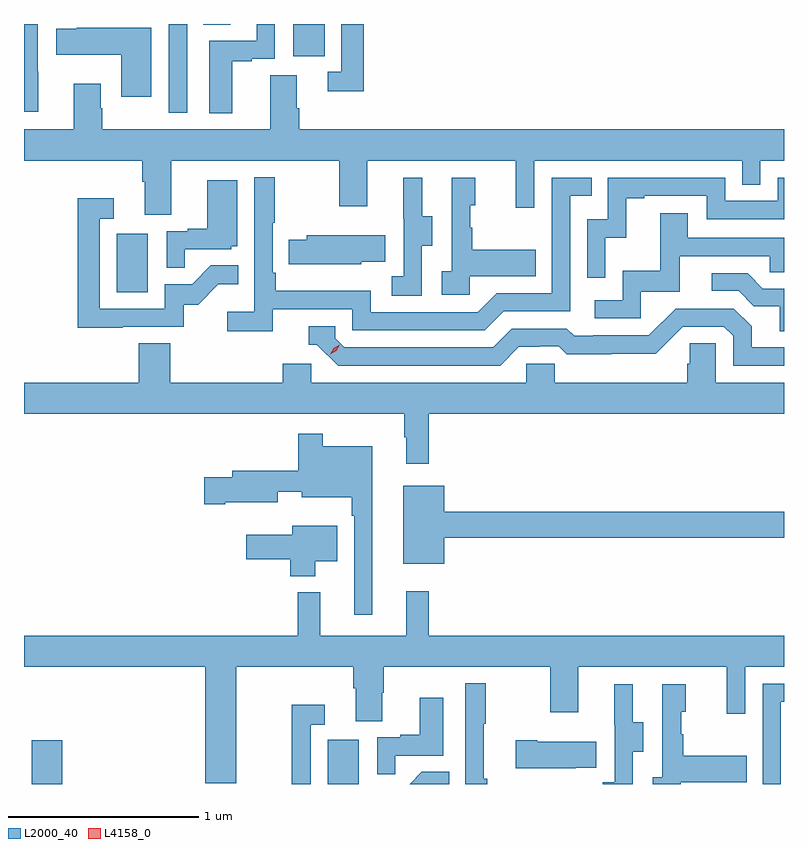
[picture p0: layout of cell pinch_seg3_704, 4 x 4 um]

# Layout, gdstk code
import gdstk
lib = gdstk.Library(unit=1e-6, precision=1e-09)
def R(c, l, rs):  # rectangles x0, y0, x1, y1
    for r in rs: c.add(gdstk.rectangle(r[:2], r[2:], *l))
def P(c, l, *ps):  # polygons
    for p in ps: c.add(gdstk.Polygon(p, *l))
L2000_40 = (2000, 40)
L4158_0 = (4158, 0)

pinch_seg3_704 = lib.new_cell('pinch_seg3_704')
R(pinch_seg3_704, L2000_40, [(1101.49,682.983,1101.65,683.212), (1103.048,682.983,1103.212,683.215), (1101.938,685.572,1102.102,685.879), (1102.212,686.517,1102.308,686.983), (1102.868,686.814,1103.032,686.983)])
P(pinch_seg3_704, L2000_40, [(1102.546,686.787),(1102.649,686.787),(1102.649,686.799),(1102.77,686.799),(1102.77,686.983),(1102.675,686.983),(1102.675,686.895),(1102.424,686.895),(1102.424,686.513),(1102.546,686.513)],
  [(1103.237,686.983),(1103.121,686.983),(1103.121,686.733),(1103.049,686.733),(1103.049,686.628),(1103.237,686.628)],
  [(1102.539,686.983),(1102.393,686.983),(1102.393,686.98),(1102.536,686.98)],
  [(1101.524,686.733),(1101.522,686.733),(1101.522,686.983),(1101.45,686.983),(1101.45,686.52),(1101.524,686.52)],
  [(1102.12,686.962),(1101.727,686.962),(1101.727,686.959),(1101.619,686.959),(1101.619,686.822),(1101.962,686.822),(1101.962,686.601),(1102.12,686.601)],
  [(1102.225,686.264),(1103.11,686.264),(1103.11,686.025),(1103.257,686.025),(1103.257,686.264),(1104.038,686.264),(1104.038,686.016),(1104.135,686.016),(1104.135,686.264),(1105.23,686.264),(1105.23,686.137),(1105.326,686.137),(1105.326,686.264),(1105.45,686.264),(1105.45,686.428),(1102.898,686.428),(1102.898,686.54),(1102.885,686.54),(1102.885,686.714),(1102.745,686.714),(1102.745,686.428),(1101.861,686.428),(1101.861,686.54),(1101.853,686.54),(1101.853,686.668),(1101.713,686.668),(1101.713,686.428),(1101.45,686.428),(1101.45,686.264),(1102.073,686.264),(1102.073,686.152),(1102.085,686.152),(1102.085,685.978),(1102.225,685.978)],
  [(1102.76,685.482),(1103.178,685.482),(1103.178,685.371),(1103.875,685.371),(1103.974,685.47),(1104.324,685.47),(1104.324,686.079),(1104.437,686.079),(1104.437,686.175),(1104.228,686.175),(1104.228,685.566),(1103.937,685.566),(1103.838,685.467),(1103.274,685.467),(1103.274,685.579),(1102.775,685.579),(1102.775,685.675),(1102.758,685.675),(1102.758,685.936),(1102.771,685.936),(1102.771,686.176),(1102.662,686.176),(1102.662,685.468),(1102.521,685.468),(1102.521,685.366),(1102.76,685.366)],
  [(1104.51,685.859),(1104.62,685.859),(1104.62,686.067),(1104.715,686.067),(1104.715,686.079),(1105.044,686.079),(1105.044,685.956),(1105.45,685.956),(1105.45,686.175),(1105.416,686.175),(1105.416,686.052),(1105.14,686.052),(1105.14,686.175),(1104.522,686.175),(1104.522,685.956),(1104.414,685.956),(1104.414,685.647),(1104.51,685.647)],
  [(1103.796,685.655),(1104.143,685.655),(1104.143,685.795),(1103.809,685.795),(1103.809,685.91),(1103.799,685.91),(1103.799,686.028),(1103.824,686.028),(1103.824,686.173),(1103.7,686.173),(1103.7,685.682),(1103.649,685.682),(1103.649,685.557),(1103.796,685.557)],
  [(1103.544,685.816),(1103.599,685.816),(1103.599,685.971),(1103.545,685.971),(1103.545,686.173),(1103.447,686.173),(1103.447,685.959),(1103.448,685.959),(1103.448,685.655),(1103.385,685.655),(1103.385,685.552),(1103.544,685.552)],
  [(1102.295,685.797),(1102.542,685.797),(1102.542,685.812),(1102.573,685.812),(1102.573,686.161),(1102.415,686.161),(1102.415,685.906),(1102.311,685.906),(1102.311,685.893),(1102.2,685.893),(1102.2,685.699),(1102.295,685.699)],
  [(1101.971,685.389),(1102.29,685.389),(1102.29,685.506),(1102.366,685.506),(1102.473,685.613),(1102.577,685.613),(1102.577,685.712),(1102.433,685.712),(1102.335,685.614),(1102.191,685.614),(1102.191,685.485),(1101.849,685.485),(1101.849,685.959),(1101.922,685.959),(1101.922,686.065),(1101.733,686.065),(1101.733,685.384),(1101.971,685.384)],
  [(1104.696,685.575),(1104.901,685.575),(1104.901,685.761),(1105.375,685.761),(1105.375,685.677),(1105.45,685.677),(1105.45,685.857),(1104.943,685.857),(1104.943,685.987),(1104.799,685.987),(1104.799,685.684),(1104.6,685.684),(1104.6,685.53),(1104.453,685.53),(1104.453,685.434),(1104.696,685.434)],
  [(1103.226,685.733),(1103.351,685.733),(1103.351,685.87),(1102.937,685.87),(1102.937,685.848),(1102.843,685.848),(1102.843,685.719),(1102.954,685.719),(1102.954,685.718),(1103.226,685.718)],
  [(1105.45,685.59),(1105.339,685.59),(1105.258,685.671),(1105.071,685.671),(1105.071,685.578),(1105.212,685.578),(1105.292,685.498),(1105.427,685.498),(1105.427,685.366),(1105.45,685.366)],
  [(1104.055,685.284),(1104.162,685.284),(1104.162,685.287),(1104.265,685.287),(1104.307,685.245),(1104.54,685.245),(1104.54,685.247),(1104.776,685.247),(1104.918,685.389),(1105.134,685.389),(1105.182,685.341),(1105.182,685.185),(1105.45,685.185),(1105.45,685.281),(1105.279,685.281),(1105.279,685.391),(1105.185,685.485),(1104.879,685.485),(1104.738,685.344),(1104.445,685.344),(1104.445,685.341),(1104.346,685.341),(1104.307,685.38),(1104.018,685.38),(1103.919,685.281),(1103.136,685.281),(1103.088,685.329),(1103.088,685.392),(1102.949,685.392),(1102.949,685.296),(1102.992,685.296),(1103.103,685.185),(1103.956,685.185)],
  [(1103.579,684.932),(1105.45,684.932),(1105.45,685.096),(1105.092,685.096),(1105.092,685.304),(1104.955,685.304),(1104.955,685.194),(1104.941,685.194),(1104.941,685.096),(1104.243,685.096),(1104.243,685.194),(1104.093,685.194),(1104.093,685.096),(1102.962,685.096),(1102.962,685.194),(1102.811,685.194),(1102.811,685.096),(1102.22,685.096),(1102.22,685.304),(1102.055,685.304),(1102.055,685.096),(1101.45,685.096),(1101.45,684.932),(1103.451,684.932),(1103.451,684.809),(1103.462,684.809),(1103.462,684.669),(1103.579,684.669)],
  [(1103.284,684.76),(1103.023,684.76),(1103.023,684.826),(1102.894,684.826),(1102.894,684.631),(1102.547,684.631),(1102.547,684.597),(1102.398,684.597),(1102.398,684.455),(1102.51,684.455),(1102.51,684.467),(1102.786,684.467),(1102.786,684.521),(1102.913,684.521),(1102.913,684.491),(1103.175,684.491),(1103.175,684.395),(1103.187,684.395),(1103.187,683.874),(1103.284,683.874)],
  [(1103.662,684.28),(1105.45,684.28),(1105.45,684.416),(1103.662,684.416),(1103.662,684.553),(1103.447,684.553),(1103.447,684.143),(1103.662,684.143)],
  [(1102.984,684.155),(1103.098,684.155),(1103.098,684.343),(1102.862,684.343),(1102.862,684.295),(1102.62,684.295),(1102.62,684.166),(1102.85,684.166),(1102.85,684.077),(1102.984,684.077)],
  [(1102.567,683.6),(1103.183,683.6),(1103.183,683.488),(1103.195,683.488),(1103.195,683.314),(1103.335,683.314),(1103.335,683.463),(1103.343,683.463),(1103.343,683.6),(1104.22,683.6),(1104.22,683.361),(1104.367,683.361),(1104.367,683.6),(1105.148,683.6),(1105.148,683.352),(1105.245,683.352),(1105.245,683.6),(1105.45,683.6),(1105.45,683.764),(1103.579,683.764),(1103.579,683.998),(1103.462,683.998),(1103.462,683.764),(1103.009,683.764),(1103.009,683.992),(1102.891,683.992),(1102.891,683.764),(1101.45,683.764),(1101.45,683.6),(1102.403,683.6),(1102.403,682.986),(1102.567,682.986)],
  [(1103.888,683.011),(1103.869,683.011),(1103.869,683.299),(1103.881,683.299),(1103.881,683.512),(1103.772,683.512),(1103.772,682.983),(1103.888,682.983)],
  [(1105.434,683.415),(1105.45,683.415),(1105.45,683.511),(1105.338,683.511),(1105.338,682.983),(1105.434,682.983)],
  [(1104.654,683.152),(1104.709,683.152),(1104.709,683.307),(1104.655,683.307),(1104.655,683.509),(1104.557,683.509),(1104.557,683.295),(1104.558,683.295),(1104.558,682.991),(1104.495,682.991),(1104.495,682.983),(1104.654,682.983)],
  [(1104.906,682.991),(1105.253,682.991),(1105.253,683.131),(1104.919,683.131),(1104.919,683.246),(1104.909,683.246),(1104.909,683.364),(1104.934,683.364),(1104.934,683.509),(1104.81,683.509),(1104.81,683.018),(1104.759,683.018),(1104.759,682.983),(1104.906,682.983)],
  [(1103.405,683.133),(1103.656,683.133),(1103.656,683.437),(1103.534,683.437),(1103.534,683.242),(1103.431,683.242),(1103.431,683.229),(1103.31,683.229),(1103.31,683.035),(1103.405,683.035)],
  [(1102.959,683.295),(1103.032,683.295),(1103.032,683.401),(1102.858,683.401),(1102.858,682.983),(1102.959,682.983)],
  [(1104.353,683.069),(1104.461,683.069),(1104.461,683.206),(1104.151,683.206),(1104.151,683.214),(1104.039,683.214),(1104.039,683.066),(1104.353,683.066)],
  [(1103.687,683.048),(1103.544,683.048),(1103.479,682.983),(1103.687,682.983)])
P(pinch_seg3_704, L4158_0, [(1103.063,685.244),(1103.063,685.245),(1103.08,685.277),(1103.111,685.296),(1103.111,685.296),(1103.111,685.296),(1103.094,685.264),(1103.063,685.244)])

lib.write_gds('pinch_seg3_704.gds')
